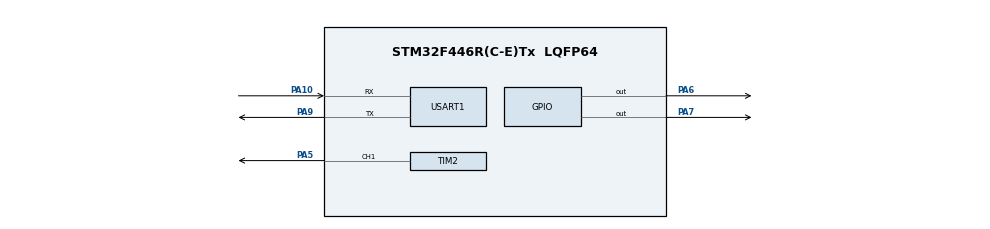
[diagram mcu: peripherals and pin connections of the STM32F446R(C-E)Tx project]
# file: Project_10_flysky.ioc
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Mcu.Family=STM32F4
Mcu.Name=STM32F446R(C-E)Tx
Mcu.Package=LQFP64
NVIC.PriorityGroup=NVIC_PRIORITYGROUP_4
NVIC.USART1_IRQn=true\:0\:0\:false\:false\:true\:true\:true\:true
PA10.Mode=Asynchronous
PA10.Signal=USART1_RX
PA3.Signal=USART2_RX
PA5.Signal=S_TIM2_CH1_ETR
PA6.Signal=GPIO_Output
PA7.Signal=GPIO_Output
PA9.Mode=Asynchronous
PA9.Signal=USART1_TX
ProjectManager.HeapSize=0x200
ProjectManager.StackSize=0x400
ProjectManager.TargetToolchain=STM32CubeIDE
RCC.CortexFreq_Value=16000000
RCC.USBFreq_Value=96000000
RCC.VCOOutputFreq_Value=192000000
SH.S_TIM2_CH1_ETR.0=TIM2_CH1,PWM Generation1 CH1
TIM2.Channel-PWM\ Generation1\ CH1=TIM_CHANNEL_1
TIM2.Period=1000-1
TIM2.Prescaler=16-1
USART1.VirtualMode=VM_ASYNC
board=custom

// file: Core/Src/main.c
/* USER CODE BEGIN Header */
/**
  ******************************************************************************
  * @file           : main.c
  * @brief          : Main program body
  ******************************************************************************
  * @attention
  *
  * Copyright (c) 2026 STMicroelectronics.
  * All rights reserved.
  *
  * This software is licensed under terms that can be found in the LICENSE file
  * in the root directory of this software component.
  * If no LICENSE file comes with this software, it is provided AS-IS.
  *
  ******************************************************************************
  */
/* USER CODE END Header */
#include "main.h"

TIM_HandleTypeDef htim2;

UART_HandleTypeDef huart1;

/* USER CODE BEGIN PV */

uint8_t rx_data;
uint8_t ibus_rx_buf[32] = {0};
uint8_t ibus_index = 0;
uint16_t ch3_value = 1000;
int motor_pwm = 0;

/* USER CODE END PV */

void SystemClock_Config(void);
static void MX_GPIO_Init(void);
static void MX_TIM2_Init(void);
static void MX_USART1_UART_Init(void);

int main(void)
{

  /* MCU Configuration--------------------------------------------------------*/

  /* Reset of all peripherals, Initializes the Flash interface and the Systick. */
  HAL_Init();

  /* Configure the system clock */
  SystemClock_Config();

  /* Initialize all configured peripherals */
  MX_GPIO_Init();
  MX_TIM2_Init();
  MX_USART1_UART_Init();
  /* USER CODE BEGIN 2 */

  HAL_UART_Receive_IT(&huart1, &rx_data, 1);
  HAL_TIM_PWM_Start(&htim2, TIM_CHANNEL_1);

  HAL_GPIO_WritePin(GPIOA, GPIO_PIN_6, GPIO_PIN_SET);
  HAL_GPIO_WritePin(GPIOA, GPIO_PIN_7, GPIO_PIN_RESET);
  __HAL_TIM_SET_COMPARE(&htim2, TIM_CHANNEL_1, 0);

  /* USER CODE END 2 */

  /* Infinite loop */
  while (1)
  {

  }
}

void SystemClock_Config(void)
{
  RCC_OscInitTypeDef RCC_OscInitStruct = {0};
  RCC_ClkInitTypeDef RCC_ClkInitStruct = {0};

  /** Configure the main internal regulator output voltage
  */
  __HAL_RCC_PWR_CLK_ENABLE();
  __HAL_PWR_VOLTAGESCALING_CONFIG(PWR_REGULATOR_VOLTAGE_SCALE3);

  /** Initializes the RCC Oscillators according to the specified parameters
  * in the RCC_OscInitTypeDef structure.
  */
  RCC_OscInitStruct.OscillatorType = RCC_OSCILLATORTYPE_HSI;
  RCC_OscInitStruct.HSIState = RCC_HSI_ON;
  RCC_OscInitStruct.HSICalibrationValue = RCC_HSICALIBRATION_DEFAULT;
  RCC_OscInitStruct.PLL.PLLState = RCC_PLL_NONE;
  if (HAL_RCC_OscConfig(&RCC_OscInitStruct) != HAL_OK)
  {
    Error_Handler();
  }

  /** Initializes the CPU, AHB and APB buses clocks
  */
  RCC_ClkInitStruct.ClockType = RCC_CLOCKTYPE_HCLK|RCC_CLOCKTYPE_SYSCLK
                              |RCC_CLOCKTYPE_PCLK1|RCC_CLOCKTYPE_PCLK2;
  RCC_ClkInitStruct.SYSCLKSource = RCC_SYSCLKSOURCE_HSI;
  RCC_ClkInitStruct.AHBCLKDivider = RCC_SYSCLK_DIV1;
  RCC_ClkInitStruct.APB1CLKDivider = RCC_HCLK_DIV1;
  RCC_ClkInitStruct.APB2CLKDivider = RCC_HCLK_DIV1;

  if (HAL_RCC_ClockConfig(&RCC_ClkInitStruct, FLASH_LATENCY_0) != HAL_OK)
  {
    Error_Handler();
  }
}

static void MX_TIM2_Init(void)
{

  TIM_MasterConfigTypeDef sMasterConfig = {0};
  TIM_OC_InitTypeDef sConfigOC = {0};

  htim2.Instance = TIM2;
  htim2.Init.Prescaler = 16-1;
  htim2.Init.CounterMode = TIM_COUNTERMODE_UP;
  htim2.Init.Period = 1000-1;
  htim2.Init.ClockDivision = TIM_CLOCKDIVISION_DIV1;
  htim2.Init.AutoReloadPreload = TIM_AUTORELOAD_PRELOAD_DISABLE;
  if (HAL_TIM_PWM_Init(&htim2) != HAL_OK)
  {
    Error_Handler();
  }
  sMasterConfig.MasterOutputTrigger = TIM_TRGO_RESET;
  sMasterConfig.MasterSlaveMode = TIM_MASTERSLAVEMODE_DISABLE;
  if (HAL_TIMEx_MasterConfigSynchronization(&htim2, &sMasterConfig) != HAL_OK)
  {
    Error_Handler();
  }
  sConfigOC.OCMode = TIM_OCMODE_PWM1;
  sConfigOC.Pulse = 0;
  sConfigOC.OCPolarity = TIM_OCPOLARITY_HIGH;
  sConfigOC.OCFastMode = TIM_OCFAST_DISABLE;
  if (HAL_TIM_PWM_ConfigChannel(&htim2, &sConfigOC, TIM_CHANNEL_1) != HAL_OK)
  {
    Error_Handler();
  }
  HAL_TIM_MspPostInit(&htim2);

}

static void MX_USART1_UART_Init(void)
{

  huart1.Instance = USART1;
  huart1.Init.BaudRate = 115200;
  huart1.Init.WordLength = UART_WORDLENGTH_8B;
  huart1.Init.StopBits = UART_STOPBITS_1;
  huart1.Init.Parity = UART_PARITY_NONE;
  huart1.Init.Mode = UART_MODE_TX_RX;
  huart1.Init.HwFlowCtl = UART_HWCONTROL_NONE;
  huart1.Init.OverSampling = UART_OVERSAMPLING_16;
  if (HAL_UART_Init(&huart1) != HAL_OK)
  {
    Error_Handler();
  }

}

static void MX_GPIO_Init(void)
{
  GPIO_InitTypeDef GPIO_InitStruct = {0};

  /* GPIO Ports Clock Enable */
  __HAL_RCC_GPIOA_CLK_ENABLE();

  /*Configure GPIO pin Output Level */
  HAL_GPIO_WritePin(GPIOA, GPIO_PIN_6|GPIO_PIN_7, GPIO_PIN_RESET);

  /*Configure GPIO pin : PA3 */
  GPIO_InitStruct.Pin = GPIO_PIN_3;
  GPIO_InitStruct.Mode = GPIO_MODE_AF_PP;
  GPIO_InitStruct.Pull = GPIO_NOPULL;
  GPIO_InitStruct.Speed = GPIO_SPEED_FREQ_VERY_HIGH;
  GPIO_InitStruct.Alternate = GPIO_AF7_USART2;
  HAL_GPIO_Init(GPIOA, &GPIO_InitStruct);

  /*Configure GPIO pins : PA6 PA7 */
  GPIO_InitStruct.Pin = GPIO_PIN_6|GPIO_PIN_7;
  GPIO_InitStruct.Mode = GPIO_MODE_OUTPUT_PP;
  GPIO_InitStruct.Pull = GPIO_NOPULL;
  GPIO_InitStruct.Speed = GPIO_SPEED_FREQ_LOW;
  HAL_GPIO_Init(GPIOA, &GPIO_InitStruct);

}

/* USER CODE BEGIN 4 */

 void HAL_UART_RxCpltCallback(UART_HandleTypeDef *huart){
	 if(huart->Instance == USART1){
		 if(ibus_index == 0 && rx_data != 0x20){
			 HAL_UART_Receive_IT(&huart1, &rx_data, 1);
			 return;
		 }

		 ibus_rx_buf[ibus_index] = rx_data;
		 ibus_index++;

		 if (ibus_index == 32){
			 ibus_index = 0;
			 if(ibus_rx_buf[1] == 0x40){
				 ch3_value = ((ibus_rx_buf[7] << 8) | ibus_rx_buf[6]);
				 motor_pwm = ch3_value - 1000;

				 if(motor_pwm < 0) motor_pwm = 0;
				 if(motor_pwm > 1000) motor_pwm = 1000;

				 __HAL_TIM_SET_COMPARE(&htim2, TIM_CHANNEL_1, motor_pwm);
			 }
		 }

		 HAL_UART_Receive_IT(&huart1, &rx_data, 1);
	 }
 }

/* USER CODE END 4 */

void Error_Handler(void)
{
  __disable_irq();
  while (1)
  {
  }
}
